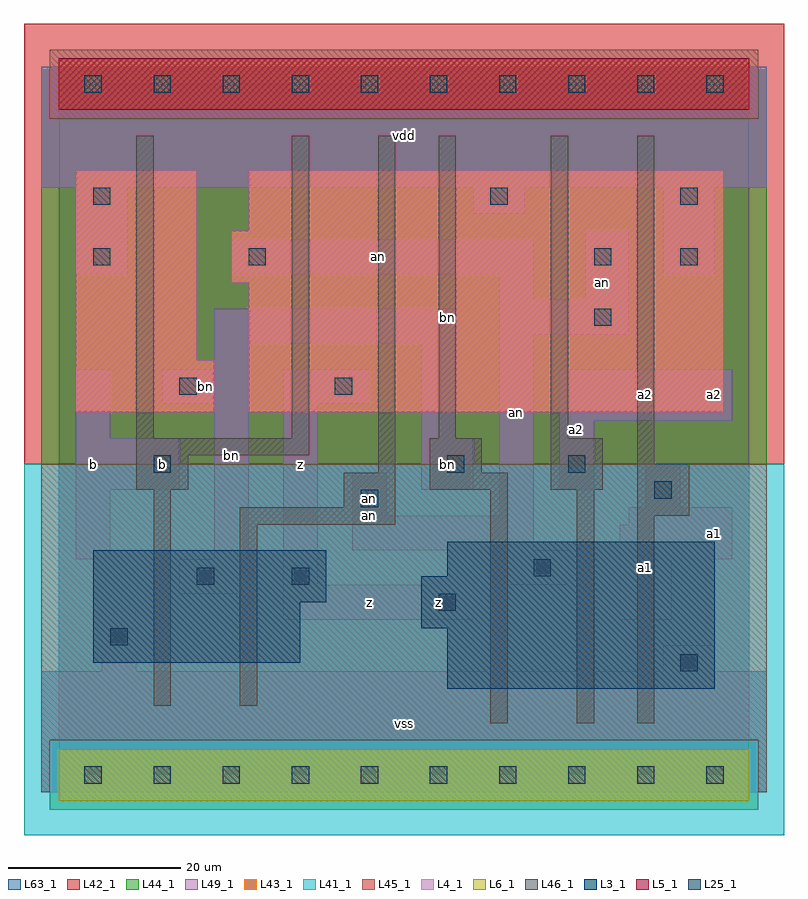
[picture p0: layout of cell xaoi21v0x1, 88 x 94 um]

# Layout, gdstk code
import gdstk
lib = gdstk.Library(unit=1e-6, precision=1e-09)
def R(c, l, rs):  # rectangles x0, y0, x1, y1
    for r in rs: c.add(gdstk.rectangle(r[:2], r[2:], *l))
def A(c, l, x, y, w, h, nx, ny, dx, dy):  # array of equal rectangles
    R(c, l, [(x+i*dx, y+j*dy, x+i*dx+w, y+j*dy+h) for i in range(nx) for j in range(ny)])
L3_1 = (3, 1)
L4_1 = (4, 1)
L5_1 = (5, 1)
L6_1 = (6, 1)
L25_1 = (25, 1)
L41_1 = (41, 1)
L42_1 = (42, 1)
L43_1 = (43, 1)
L44_1 = (44, 1)
L45_1 = (45, 1)
L46_1 = (46, 1)
L49_1 = (49, 1)
L63_1 = (63, 1)

xaoi21v0x1 = lib.new_cell('xaoi21v0x1')
R(xaoi21v0x1, L3_1, [(45,10,76,17), (4,13,28,20), (42,17,76,23), (4,20,31,26), (45,23,76,27)])
R(xaoi21v0x1, L4_1, [(2,42,18,48), (22,42,77,57), (2,48,16,70), (20,57,77,63), (22,63,77,70)])
R(xaoi21v0x1, L5_1, [(0,77,80,83)])
R(xaoi21v0x1, L6_1, [(0,-3,80,3), (0,-3,80,3)])
A(xaoi21v0x1, L25_1, 3, -1, 2, 2, 10, 2, 8, 80)
R(xaoi21v0x1, L25_1, [(72,12,74,14), (6,15,8,17), (44,19,46,21), (16,22,18,24), (27,22,29,24), (55,23,57,25), (35,31,37,33), (69,32,71,34), (11,35,13,37), (45,35,47,37), (59,35,61,37), (14,44,16,46), (32,44,34,46), (62,52,64,54), (4,59,6,61), (22,59,24,61), (62,59,64,61), (72,59,74,61), (4,66,6,68), (50,66,52,68), (72,66,74,68)])
R(xaoi21v0x1, L41_1, [(-4,-7,84,36)])
R(xaoi21v0x1, L42_1, [(-4,36,84,87)])
R(xaoi21v0x1, L43_1, [(0,-3,80,3), (45,10,76,17), (4,13,28,20), (42,17,76,23), (4,20,31,26), (45,23,76,27), (2,42,18,48), (22,42,77,57), (2,48,16,70), (20,57,77,63), (22,63,77,70), (0,77,80,83)])
R(xaoi21v0x1, L44_1, [(-1,-4,81,4), (-2,36,82,76), (-2,76,-1,82), (81,76,82,82)])
R(xaoi21v0x1, L45_1, [(-2,-2,-1,4), (81,-2,82,4), (-2,4,82,36), (-1,76,81,84)])
R(xaoi21v0x1, L46_1, [(50,6,52,33), (60,6,62,33), (67,6,69,30), (11,8,13,33), (21,8,23,29), (21,29,39,31), (67,30,73,36), (33,31,39,35), (9,33,15,37), (43,33,52,35), (57,33,63,39), (37,35,39,74), (43,35,49,39), (67,36,69,74), (9,37,29,39), (9,39,11,74), (27,39,29,74), (44,39,46,74), (57,39,59,74)])
R(xaoi21v0x1, L49_1, [(-2,-2,82,12), (5,12,9,19), (70,12,76,15), (26,18,48,22), (65,18,71,25), (14,21,22,25), (26,22,30,43), (51,22,59,26), (2,25,6,33), (18,25,22,43), (65,25,78,29), (34,26,55,30), (66,29,78,31), (34,30,38,35), (51,30,55,51), (68,31,72,36), (2,33,14,39), (42,33,48,39), (58,33,62,41), (2,39,6,47), (42,39,46,50), (58,41,78,47), (12,43,22,47), (26,43,36,47), (18,47,22,50), (18,50,46,54), (51,51,66,55), (51,55,55,58), (61,55,66,63), (2,58,8,68), (20,58,55,62), (70,58,76,68), (48,65,54,68), (-2,68,82,82)])
R(xaoi21v0x1, L63_1, [(0,0,80,80)])
xaoi21v0x1.add(gdstk.Label('an', (36,32), layer=49, texttype=1))
xaoi21v0x1.add(gdstk.Label('bn', (45,53), layer=46, texttype=1))
xaoi21v0x1.add(gdstk.Label('b', (4,36), layer=49, texttype=1))
xaoi21v0x1.add(gdstk.Label('b', (12,36), layer=49, texttype=1))
xaoi21v0x1.add(gdstk.Label('bn', (17,45), layer=49, texttype=1))
xaoi21v0x1.add(gdstk.Label('z', (28,36), layer=49, texttype=1))
xaoi21v0x1.add(gdstk.Label('bn', (20,37), layer=49, texttype=1))
xaoi21v0x1.add(gdstk.Label('vss', (40,6), layer=49, texttype=1))
xaoi21v0x1.add(gdstk.Label('z', (44,20), layer=49, texttype=1))
xaoi21v0x1.add(gdstk.Label('z', (36,20), layer=49, texttype=1))
xaoi21v0x1.add(gdstk.Label('an', (36,30), layer=49, texttype=1))
xaoi21v0x1.add(gdstk.Label('vdd', (40,74), layer=49, texttype=1))
xaoi21v0x1.add(gdstk.Label('bn', (45,36), layer=49, texttype=1))
xaoi21v0x1.add(gdstk.Label('a2', (60,40), layer=49, texttype=1))
xaoi21v0x1.add(gdstk.Label('an', (53,42), layer=49, texttype=1))
xaoi21v0x1.add(gdstk.Label('an', (37,60), layer=49, texttype=1))
xaoi21v0x1.add(gdstk.Label('a1', (68,24), layer=49, texttype=1))
xaoi21v0x1.add(gdstk.Label('a1', (76,28), layer=49, texttype=1))
xaoi21v0x1.add(gdstk.Label('a2', (68,44), layer=49, texttype=1))
xaoi21v0x1.add(gdstk.Label('a2', (76,44), layer=49, texttype=1))
xaoi21v0x1.add(gdstk.Label('an', (63,57), layer=49, texttype=1))

lib.write_gds('xaoi21v0x1.gds')
